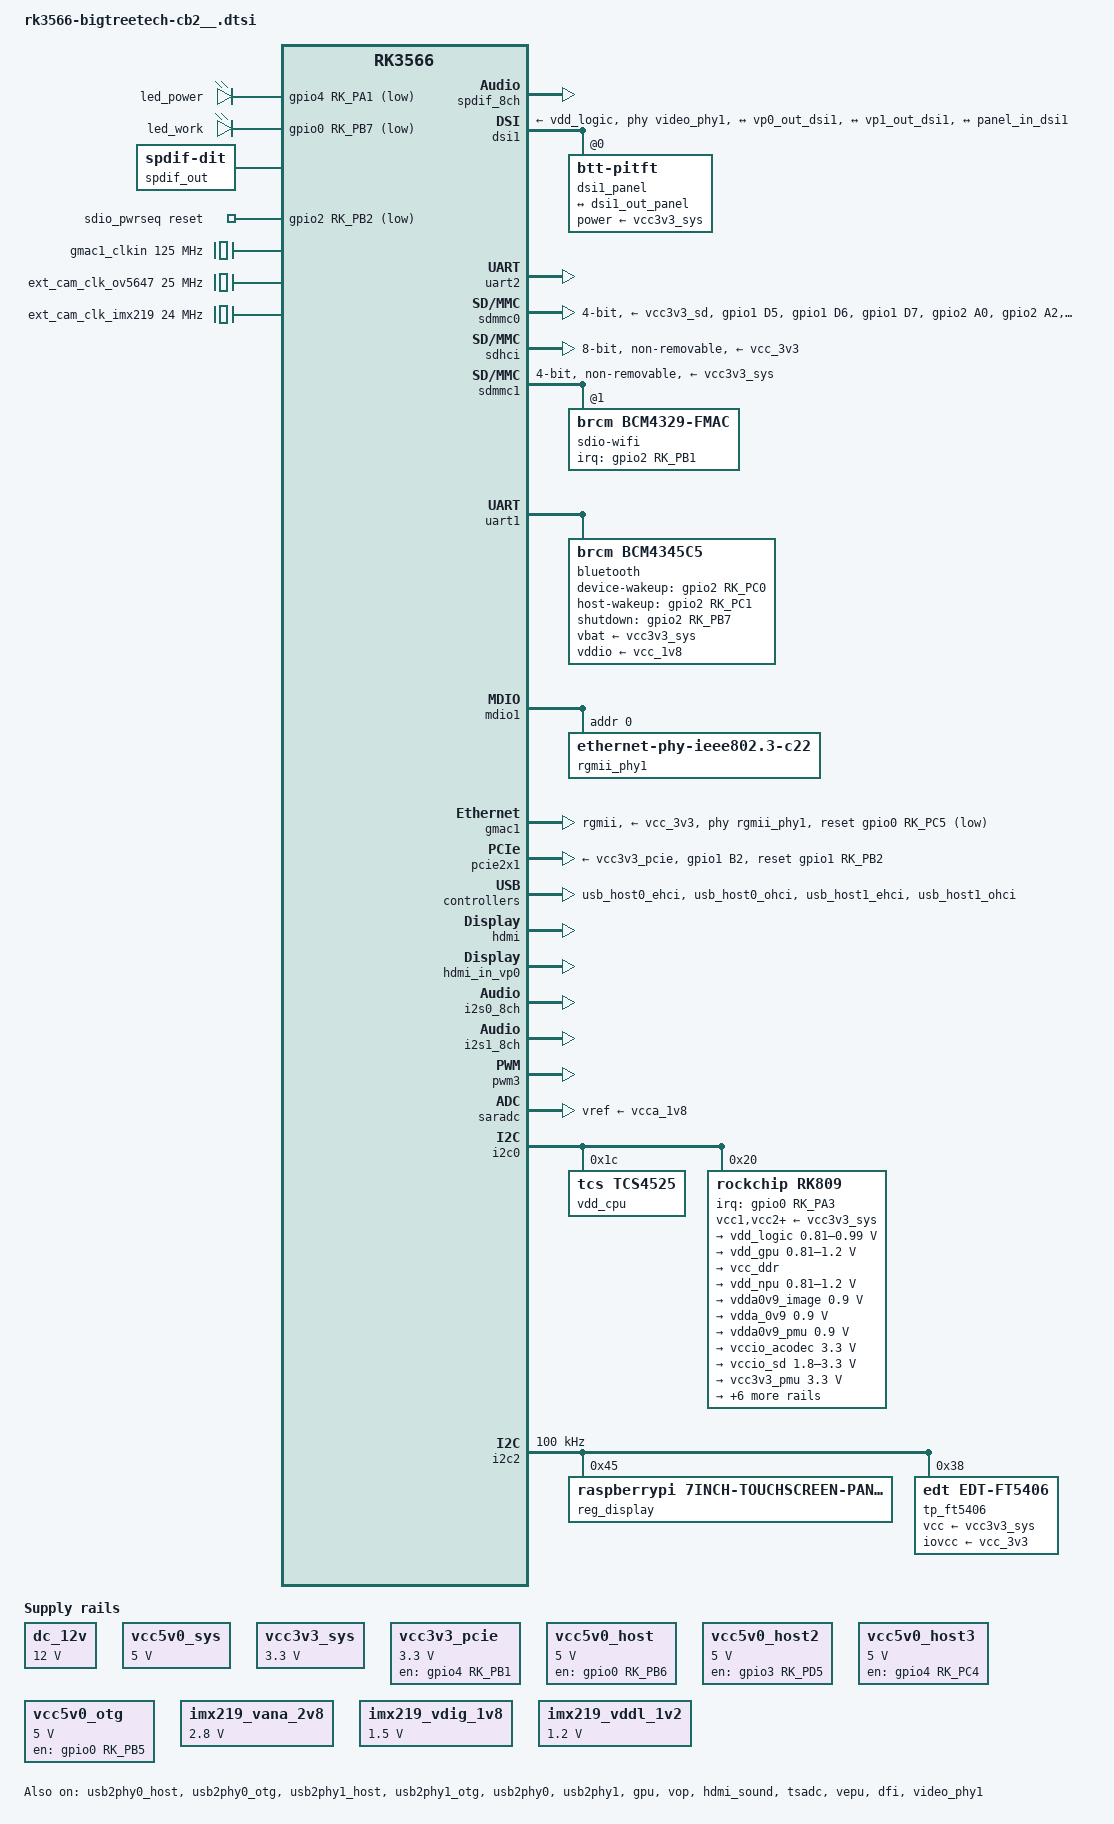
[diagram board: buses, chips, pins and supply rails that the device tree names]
// SPDX-License-Identifier: (GPL-2.0+ OR MIT)
/*
 * Copyright (c) 2025 BigTreeTech Co., Ltd.
 *
 */
/dts-v1/;

#include <dt-bindings/gpio/gpio.h>
#include <dt-bindings/pinctrl/rockchip.h>
#include <dt-bindings/soc/rockchip,vop2.h>
// #include <dt-bindings/display/rockchip_vop.h>
#include <dt-bindings/input/linux-event-codes.h>

#include "rk3566.dtsi"

/ {
	aliases {
		/delete-property/ ethernet1;
		/delete-property/ mmc0;
		/delete-property/ mmc1;
		mmc0 = &sdmmc0;
		mmc1 = &sdhci;
		serial2 = &uart2;
	};

	chosen {
		stdout-path = "serial2:1500000n8";
	};

	dc_12v: dc-12v {
		compatible = "regulator-fixed";
		regulator-name = "dc_12v";
		regulator-always-on;
		regulator-boot-on;
		regulator-min-microvolt = <12000000>;
		regulator-max-microvolt = <12000000>;
	};

	vcc5v0_sys: vcc5v0-sys {
		compatible = "regulator-fixed";
		regulator-name = "vcc5v0_sys";
		regulator-always-on;
		regulator-boot-on;
		regulator-min-microvolt = <5000000>;
		regulator-max-microvolt = <5000000>;
		// vin-supply = <&dc_12v>;
	};

	vcc3v3_sys: vcc3v3-sys {
		compatible = "regulator-fixed";
		regulator-name = "vcc3v3_sys";
		regulator-always-on;
		regulator-boot-on;
		regulator-min-microvolt = <3300000>;
		regulator-max-microvolt = <3300000>;
		// vin-supply = <&vcc5v0_sys>;
	};

	vcc3v3_pcie: vcc3v3-pcie {
		compatible = "regulator-fixed";
		regulator-always-on;
		regulator-boot-on;
		enable-active-high;
		gpio = <&gpio4 RK_PB1 GPIO_ACTIVE_HIGH>;
		pinctrl-names = "default";
		pinctrl-0 = <&pcie_enable_h>;
		regulator-name = "vcc3v3_pcie";
		regulator-min-microvolt = <3300000>;
		regulator-max-microvolt = <3300000>;
		// vin-supply = <&vcc5v0_sys>;
	};

	vcc5v0_host: vcc5v0-host-regulator {
		compatible = "regulator-fixed";
		enable-active-high;
		gpio = <&gpio0 RK_PB6 GPIO_ACTIVE_HIGH>;
		pinctrl-names = "default";
		pinctrl-0 = <&vcc5v0_host_vbus_en>;
		regulator-name = "vcc5v0_host";
		regulator-min-microvolt = <5000000>;
		regulator-max-microvolt = <5000000>;
		regulator-boot-on;
		regulator-always-on;
	};

	vcc5v0_host2: vcc5v0-host2-regulator {
		compatible = "regulator-fixed";
		enable-active-high;
		gpio = <&gpio3 RK_PD5 GPIO_ACTIVE_HIGH>;
		pinctrl-names = "default";
		pinctrl-0 = <&vcc5v0_host2_vbus_en>;
		regulator-name = "vcc5v0_host2";
		regulator-min-microvolt = <5000000>;
		regulator-max-microvolt = <5000000>;
		regulator-boot-on;
		regulator-always-on;
	};

	vcc5v0_host3: vcc5v0-host3-regulator {
		compatible = "regulator-fixed";
		enable-active-high;
		gpio = <&gpio4 RK_PC4 GPIO_ACTIVE_HIGH>;
		pinctrl-names = "default";
		pinctrl-0 = <&vcc5v0_host3_vbus_en>;
		regulator-name = "vcc5v0_host3";
		regulator-min-microvolt = <5000000>;
		regulator-max-microvolt = <5000000>;
		regulator-boot-on;
		regulator-always-on;
	};

	vcc5v0_otg: vcc5v0-otg-regulator {
		compatible = "regulator-fixed";
		enable-active-high;
		gpio = <&gpio0 RK_PB5 GPIO_ACTIVE_HIGH>;
		pinctrl-names = "default";
		pinctrl-0 = <&vcc5v0_otg_en>;
		regulator-name = "vcc5v0_otg";
		regulator-min-microvolt = <5000000>;
		regulator-max-microvolt = <5000000>;
		regulator-always-on;
	};

	leds {
		compatible = "gpio-leds";

		led_power: led-power {
			gpios = <&gpio4 RK_PA1 GPIO_ACTIVE_LOW>;
			label = "led_power";
			linux,default-trigger = "default-on";
			pinctrl-names = "default";
			pinctrl-0 = <&led_power_en>;
		};

		led_work: led-work {
			gpios = <&gpio0 RK_PB7 GPIO_ACTIVE_LOW>;
			label = "led_work";
			linux,default-trigger = "heartbeat";
			pinctrl-names = "default";
			pinctrl-0 = <&led_work_en>;
		};
	};

	// rk809_sound: rk809-sound {
	// 	status = "okay";
	// 	compatible = "rockchip,multicodecs-card";
	// 	rockchip,card-name = "Analog RK809";
	// 	hp-det-gpio = <&gpio0 RK_PC6 GPIO_ACTIVE_LOW>;
	// 	rockchip,format = "i2s";
	// 	rockchip,mclk-fs = <256>;
	// 	rockchip,cpu = <&i2s1_8ch>;
	// 	rockchip,codec = <&rk809_codec>;
	// 	pinctrl-names = "default";
	// 	pinctrl-0 = <&hp_det>;
	// };

	bt_sco: bt-sco {
		status = "disabled";
		compatible = "delta,dfbmcs320";
		#sound-dai-cells = <0>;
	};

	bt_sound: bt-sound {
		status = "disabled";
		compatible = "simple-audio-card";
		simple-audio-card,format = "dsp_a";
		simple-audio-card,bitclock-inversion;
		simple-audio-card,mclk-fs = <256>;
		simple-audio-card,name = "Bluetooth";
		simple-audio-card,cpu {
			sound-dai = <&i2s2_2ch>;
		};
		simple-audio-card,codec {
			sound-dai = <&bt_sco>;
		};
	};

	spdif_out: spdif-out {
		status = "okay";
		#sound-dai-cells = <0>;
		compatible = "linux,spdif-dit";
	};

  // CUSTOM
	spdif_8ch: spdif@fe460000 {
		compatible = "rockchip,rk3568-spdif";
		reg = <0x0 0xfe460000 0x0 0x1000>;
		interrupts = <GIC_SPI 102 IRQ_TYPE_LEVEL_HIGH>;
		clock-names = "mclk", "hclk";
		clocks = <&cru MCLK_SPDIF_8CH>, <&cru HCLK_SPDIF_8CH>;
		dmas = <&dmac1 1>;
		dma-names = "tx";
		pinctrl-names = "default";
		pinctrl-0 = <&spdifm0_tx>;
		#sound-dai-cells = <0>;
		status = "disabled";
	};

	spdif_sound: spdif-sound {
		status = "okay";
		compatible = "simple-audio-card";
		simple-audio-card,name = "SPDIF";

		simple-audio-card,cpu {
			sound-dai = <&spdif_8ch>;
		};

		simple-audio-card,codec {
			sound-dai = <&spdif_out>;
		};
	};

	sdio_pwrseq: sdio-pwrseq {
		compatible = "mmc-pwrseq-simple";
		clocks = <&rk809 1>;
		clock-names = "ext_clock";
		pinctrl-names = "default";
		pinctrl-0 = <&wifi_enable_h &wifi_32k>;

		/*
		 * On the module itself this is one of these (depending
		 * on the actual card populated):
		 * - SDIO_RESET_L_WL_REG_ON
		 * - PDN (power down when low)
		 */
		post-power-on-delay-ms = <200>;
		reset-gpios = <&gpio2 RK_PB2 GPIO_ACTIVE_LOW>;
	};

	gmac1_clkin: external-gmac1-clock {
		compatible = "fixed-clock";
		clock-frequency = <125000000>;
		clock-output-names = "gmac1_clkin";
		#clock-cells = <0>;
	};

	ext_cam_clk_ov5647: external-camera-clock-ov5647 {
		compatible = "fixed-clock";
		clock-frequency = <25000000>;
		clock-output-names = "ext_cam_clk_ov5647";
		#clock-cells = <0>;
	};

	ext_cam_clk_imx219: ext-cam-clk-imx219 {
		compatible = "fixed-clock";
		clock-frequency = <24000000>;
		clock-output-names = "ext_cam_clk_imx219";
		#clock-cells = <0>;
	};

	imx219_vana_2v8: 2p8v {
		compatible = "regulator-fixed";
		regulator-name = "camera_vana";
		regulator-min-microvolt = <2800000>;
		regulator-max-microvolt = <2800000>;
		regulator-always-on;
	};

	imx219_vdig_1v8: 1p8v {
		compatible = "regulator-fixed";
		regulator-name = "camera_vdig";
		regulator-min-microvolt = <1500000>;
		regulator-max-microvolt = <1500000>;
		regulator-always-on;
	};

	imx219_vddl_1v2: 1p2v {
		compatible = "regulator-fixed";
		regulator-name = "camera_vddl";
		regulator-min-microvolt = <1200000>;
		regulator-max-microvolt = <1200000>;
		regulator-always-on;
	};

	mcp2515_clock: mcp2515_clock {
		compatible = "fixed-clock";
		#clock-cells = <0>;
		clock-frequency  = <12000000>;
	};


	// CUSTOM
	video_phy1: phy@fe860000 {
		compatible = "rockchip,rk3568-dsi-dphy", "rockchip,rk3568-video-phy";
		reg = <0x0 0xfe860000  0x0 0x10000>,
		      <0x0 0xfe070000 0x0 0x10000>;
		reg-names = "phy", "host";
		clocks = <&pmucru CLK_MIPIDSIPHY1_REF>,
			 <&cru PCLK_MIPIDSIPHY1>, <&cru PCLK_DSITX_1>;
		clock-names = "ref", "pclk", "pclk_host";
		#clock-cells = <0>;
		resets = <&cru SRST_P_MIPIDSIPHY1>;
		reset-names = "apb";
		power-domains = <&power RK3568_PD_VO>;
		#phy-cells = <0>;
		status = "disabled";
	};

	// CUSTOM
	dsi1: dsi@fe070000 {
		compatible = "rockchip,rk3568-mipi-dsi";
		reg = <0x0 0xfe070000 0x0 0x10000>;
		interrupts = <GIC_SPI 69 IRQ_TYPE_LEVEL_HIGH>;
		clock-names = "pclk", "hclk";
		clocks = <&cru PCLK_DSITX_1>, <&cru HCLK_VO>;
		phy-names = "dphy";
		phys = <&video_phy1>;
		power-domains = <&power RK3568_PD_VO>;
		reset-names = "apb";
		resets = <&cru SRST_P_DSITX_1>;
		rockchip,grf = <&grf>;
		#address-cells = <1>;
		#size-cells = <0>;
		status = "disabled";

		ports {
			#address-cells = <1>;
			#size-cells = <0>;

			dsi1_in: port@0 {
				reg = <0>;
				#address-cells = <1>;
				#size-cells = <0>;

				dsi1_in_vp0: endpoint@0 {
					reg = <0>;
					remote-endpoint = <&vp0_out_dsi1>;
					status = "disabled";
				};

				dsi1_in_vp1: endpoint@1 {
					reg = <1>;
					remote-endpoint = <&vp1_out_dsi1>;
					status = "disabled";
				};
			};
		};
	};
};

// Debug serial
&uart2 {
	status = "okay";
};

&pinctrl {
	leds {
		led_power_en: led-power-en {
			rockchip,pins = <4 RK_PA1 RK_FUNC_GPIO &pcfg_pull_none>;
		};

		led_work_en: led-work-en {
			rockchip,pins = <0 RK_PB7 RK_FUNC_GPIO &pcfg_pull_none>;
		};
	};

	headphone {
		hp_det: hp-det {
			rockchip,pins = <0 RK_PC6 RK_FUNC_GPIO &pcfg_pull_down>;
		};
	};

	bt {
		bt_enable_h: bt-enable-h {
			rockchip,pins = <2 RK_PB7 RK_FUNC_GPIO &pcfg_pull_none>;
		};

		bt_host_wake_l: bt-host-wake-l {
			rockchip,pins = <2 RK_PC0 RK_FUNC_GPIO &pcfg_pull_down>;
		};

		bt_wake_l: bt-wake-l {
			rockchip,pins = <2 RK_PC1 RK_FUNC_GPIO &pcfg_pull_none>;
		};
	};

	pcie {
		pcie_enable_h: pcie-enable-h {
			rockchip,pins = <4 RK_PB1  RK_FUNC_GPIO &pcfg_pull_none>;
		};

		pcie_reset_h: pcie-reset-h {
			rockchip,pins = <1 RK_PB2 RK_FUNC_GPIO &pcfg_pull_none>;
		};
	};

	pmic {
		pmic_int: pmic-int {
			rockchip,pins =
				<0 RK_PA3 RK_FUNC_GPIO &pcfg_pull_up>;
		};

		soc_slppin_gpio: soc_slppin_gpio {
			rockchip,pins =
				<0 RK_PA2 RK_FUNC_GPIO &pcfg_output_low>;
		};

		soc_slppin_slp: soc_slppin_slp {
			rockchip,pins =
				<0 RK_PA2 1 &pcfg_pull_none>;
		};

		soc_slppin_rst: soc_slppin_rst {
			rockchip,pins =
				<0 RK_PA2 2 &pcfg_pull_none>;
		};
	};

	sdmmc0 {
		sdmmc0_bus4: sdmmc0-bus4 {
			rockchip,pins =
				/* sdmmc0_d0 */
				<1 RK_PD5 1 &pcfg_pull_up_drv_level_15>,
				/* sdmmc0_d1 */
				<1 RK_PD6 1 &pcfg_pull_up_drv_level_15>,
				/* sdmmc0_d2 */
				<1 RK_PD7 1 &pcfg_pull_up_drv_level_15>,
				/* sdmmc0_d3 */
				<2 RK_PA0 1 &pcfg_pull_up_drv_level_15>;
		};

		sdmmc0_clk: sdmmc0-clk {
			rockchip,pins = <2 RK_PA2 1 &pcfg_pull_up_drv_level_15>;
		};

		sdmmc0_cmd: sdmmc0-cmd {
			rockchip,pins = <2 RK_PA1 1 &pcfg_pull_up_drv_level_15>;
		};

		sdmmc0_det: sdmmc0-det {
			rockchip,pins = <0 RK_PA4 1 &pcfg_pull_up>;
		};
	};

	sdio-pwrseq {
		wifi_enable_h: wifi-enable-h {
			rockchip,pins = <2 RK_PB2 RK_FUNC_GPIO &pcfg_pull_none>;
		};

		wifi_host_wake: wifi-host-wake {
			rockchip,pins = <2 RK_PB1 RK_FUNC_GPIO &pcfg_pull_down>;
		};

		wifi_32k: wifi-32k {
			rockchip,pins = <2 RK_PC6 1 &pcfg_pull_none>;
		};
	};

	usb {
		vcc5v0_otg_en: vcc5v0-otg-en {
			rockchip,pins = <0 RK_PB5 RK_FUNC_GPIO &pcfg_pull_none>;
		};

		vcc5v0_host_vbus_en: vcc5v0-host-en {
			rockchip,pins = <0 RK_PB6 RK_FUNC_GPIO &pcfg_pull_none>;
		};

		vcc5v0_host2_vbus_en: vcc5v0-host2-en {
			rockchip,pins = <3 RK_PD5 RK_FUNC_GPIO &pcfg_pull_none>;
		};

		vcc5v0_host3_vbus_en: vcc5v0-host3-en {
			rockchip,pins = <4 RK_PC4 RK_FUNC_GPIO &pcfg_pull_none>;
		};
	};

	can {
		can0_pin_irq: can0-pin-irq {
			rockchip,pins = <4 RK_PA3 RK_FUNC_GPIO &pcfg_pull_up>;
		};
	};
};

&power {
	// pipe-supply = <&vdd_logic>;
	// npu-supply = <&vdd_npu>;
	// vpu-supply = <&vdd_logic>;
	// rga-supply = <&vdd_logic>;
	// rkvenc-supply = <&vdd_logic>;
	// rkvdec-supply = <&vdd_logic>;
	// vi-supply = <&vdd_logic>;
	// gpu-supply = <&vdd_gpu>;
};

&pmu_io_domains {
	status = "okay";
	pmuio1-supply = <&vcc3v3_pmu>;
	pmuio2-supply = <&vcc3v3_pmu>;
	vccio1-supply = <&vccio_acodec>;
	vccio2-supply = <&vcc_1v8>;
	vccio3-supply = <&vccio_sd>;
	vccio4-supply = <&vcc_1v8>;
	vccio5-supply = <&vcc_3v3>;
	vccio6-supply = <&vcc_3v3>;
	vccio7-supply = <&vcc_3v3>;
};

// SD Card
&sdmmc0 {
	status = "okay";

	vmmc-supply = <&vcc3v3_sd>;
	vqmmc-supply = <&vccio_sd>;

	max-frequency = <150000000>;
	no-sdio;
	no-mmc;
	bus-width = <4>;
	cap-mmc-highspeed;
	cap-sd-highspeed;
	disable-wp;
	sd-uhs-sdr104;
	pinctrl-names = "default";
	pinctrl-0 = <&sdmmc0_bus4 &sdmmc0_clk &sdmmc0_cmd &sdmmc0_det>;
};

// eMMC
&sdhci {
	status = "okay";

	vmmc-supply = <&vcc_3v3>;
	vqmmc-supply = <&vcc_1v8>;

	bus-width = <8>;
	no-sdio;
	no-sd;
	non-removable;
	max-frequency = <200000000>;
	pinctrl-names = "default";
	pinctrl-0 = <&emmc_clk &emmc_cmd &emmc_bus8>;
};

// WiFi
&sdmmc1 {
	status = "okay";

	#address-cells = <1>;
	#size-cells = <0>;

	vmmc-supply = <&vcc3v3_sys>;
	vqmmc-supply = <&vcc_1v8>;

	max-frequency = <150000000>;
	bus-width = <4>;
	disable-wp;
	cap-sd-highspeed;
	cap-sdio-irq;
	keep-power-in-suspend;
	mmc-pwrseq = <&sdio_pwrseq>;
	non-removable;
	pinctrl-names = "default";
	pinctrl-0 = <&sdmmc1_bus4 &sdmmc1_cmd &sdmmc1_clk>;
	sd-uhs-sdr104;
	no-sd;
	no-mmc;
	rockchip,default-sample-phase = <90>;

	sdio-wifi@1 {
		compatible = "brcm,bcm4329-fmac";
		brcm,board-type = "";
		reg = <0x1>;
		interrupt-parent = <&gpio2>;
		interrupts = <RK_PB1 IRQ_TYPE_LEVEL_HIGH>;
		interrupt-names = "host-wake";
		pinctrl-names = "default";
		pinctrl-0 = <&wifi_host_wake>;

		brcm,drive-strength = <10>;
	};
};

// Bluetooth
&uart1 {
	status = "okay";
	pinctrl-names = "default";
	pinctrl-0 = <&uart1m0_xfer &uart1m0_ctsn &uart1m0_rtsn>;
	uart-has-rtscts;
	dma-names = "tx", "rx";

	bluetooth {
		compatible = "brcm,bcm4345c5";
		clocks = <&rk809 1>;
		clock-names = "lpo";
		device-wakeup-gpios = <&gpio2 RK_PC0 GPIO_ACTIVE_HIGH>;
		host-wakeup-gpios = <&gpio2 RK_PC1 GPIO_ACTIVE_HIGH>;
		shutdown-gpios = <&gpio2 RK_PB7 GPIO_ACTIVE_HIGH>;
		pinctrl-names = "default";
		pinctrl-0 = <&bt_host_wake_l &bt_wake_l &bt_enable_h>;
		vbat-supply = <&vcc3v3_sys>;
		vddio-supply = <&vcc_1v8>;
		max-speed = <1500000>; // important!
	};
};

// Ethernet
&mdio1 {
	rgmii_phy1: phy@0 {
		compatible = "ethernet-phy-ieee802.3-c22";
		reg = <0x0>;
	};
};

&gmac1 {
	assigned-clocks = <&cru SCLK_GMAC1_RX_TX>, <&cru SCLK_GMAC1_RGMII_SPEED>, <&cru SCLK_GMAC1>;
	assigned-clock-parents = <&cru SCLK_GMAC1_RGMII_SPEED>, <&cru SCLK_GMAC1>, <&gmac1_clkin>;
	clock_in_out = "input";
	phy-supply = <&vcc_3v3>;
	phy-mode = "rgmii";
	interrupts = <GIC_SPI 32 IRQ_TYPE_LEVEL_HIGH>,
				<GIC_SPI 29 IRQ_TYPE_LEVEL_HIGH>,
				<GIC_SPI 28 IRQ_TYPE_LEVEL_HIGH>;
	interrupt-names = "macirq", "eth_wake_irq", "eth_lpi";
	pinctrl-names = "default";
	pinctrl-0 = <&gmac1m0_miim
		     &gmac1m0_tx_bus2
		     &gmac1m0_rx_bus2
		     &gmac1m0_rgmii_clk
		     &gmac1m0_clkinout
		     &gmac1m0_rgmii_bus>;
	snps,reset-gpio = <&gpio0 RK_PC5 GPIO_ACTIVE_LOW>;
	snps,reset-active-low;
	snps,reset-delays-us = <0 50000 200000>;
	tx_delay = <0x30>;
	rx_delay = <0x10>;
	phy-handle = <&rgmii_phy1>;
	status = "okay";
};

&pcie2x1 {
	reset-gpios = <&gpio1 RK_PB2 GPIO_ACTIVE_HIGH>;
	pinctrl-names = "default";
	pinctrl-0 = <&pcie_reset_h>;
	vpcie3v3-supply = <&vcc3v3_pcie>;
	status = "okay";
};

&sfc {
	status = "disabled";
	pinctrl-names = "default";
	pinctrl-0 = <&fspi_pins>;

	flash@0 {
		compatible = "jedec,spi-nor";
		reg = <0>;
		spi-max-frequency = <100000000>;
		spi-rx-bus-width = <4>;
		spi-tx-bus-width = <1>;
	};
};

&usb2phy0_host {
	phy-supply = <&vcc5v0_host>;
	status = "okay";
};

&usb2phy0_otg {
	phy-supply = <&vcc5v0_otg>;
	status = "okay";
};

&usb2phy1_host {
	status = "okay";
	phy-supply = <&vcc5v0_host2>;
};

&usb2phy1_otg {
	status = "okay";
	phy-supply = <&vcc5v0_host3>;
	vbus-supply = <&vcc5v0_host3>;
};

&usb2phy0 {
	status = "okay";
};

&usb2phy1 {
	status = "okay";
};

&usb_host0_ehci {
	status = "okay";
};

&usb_host0_ohci {
	status = "okay";
};

&usb_host1_ehci {
	status = "okay";
};

&usb_host1_ohci {
	status = "okay";
};

// &usbdrd_dwc3 {
// 	dr_mode = "host";
// 	extcon = <&usb2phy0>;
// 	status = "okay";
// };

// &usbdrd30 {
// 	status = "okay";
// };

// &usbhost_dwc3 {
// 	status = "okay";
// };

// &usbhost30 {
// 	status = "okay";
// };

// Display
&gpu {
	mali-supply = <&vdd_gpu>;
	status = "okay";
};

&vop_mmu {
	status = "okay";
};

&vop {
	status = "okay";
	vop-supply = <&vdd_logic>;
	assigned-clocks = <&cru DCLK_VOP0>, <&cru DCLK_VOP1>;
	assigned-clock-parents = <&pmucru PLL_HPLL>, <&cru PLL_VPLL>;

	vop_out: ports {
		#address-cells = <1>;
		#size-cells = <0>;

		vp0: port@0 {
			vp0_out_dsi1: endpoint@1 {
				reg = <1>;
				remote-endpoint = <&dsi1_in_vp0>;
			};

			vp0_out_hdmi: endpoint@3 {
				reg = <3>;
				remote-endpoint = <&hdmi_in_vp0>;
			};
		};

		vp1: port@1 {
			vp1_out_dsi1: endpoint@1 {
				reg = <1>;
				remote-endpoint = <&dsi1_in_vp1>;
			};
		};
	};
};

&hdmi {
	status = "okay";

	interrupts = <GIC_SPI 45 IRQ_TYPE_LEVEL_HIGH>,
				<GIC_SPI 44 IRQ_TYPE_LEVEL_HIGH>;
	interrupt-names = "hdmi", "hdmi_wakeup";
	avdd-0v9-supply = <&vdda0v9_image>;
	avdd-1v8-supply = <&vcca1v8_image>;
};

// CUSTOM!!
&hdmi_in {
	hdmi_in_vp0: endpoint {
		remote-endpoint = <&vp0_out_hdmi>;
	};
};

&hdmi_in_vp0 {
	status = "okay";
};

&video_phy1 {
	status = "okay";

	phy-supply = <&vdd_logic>;
};

&dsi1_in_vp1 {
	status = "okay";
};

&dsi1 {
	status = "okay";
	#address-cells = <1>;
	#size-cells = <0>;

	phy-supply = <&vdd_logic>;

	dsi1_panel: panel@0 {
		status = "okay";
		#address-cells = <1>;
		#size-cells = <0>;

		power-supply = <&vcc3v3_sys>;
		// backlight = <&reg_display>;

		compatible = "btt-pitft";
		reg = <0x0>;

		ports {
			#address-cells = <1>;
			#size-cells = <0>;

			port@0 {
				reg = <0>;
				panel_in_dsi1: endpoint {
					remote-endpoint = <&dsi1_out_panel>;
				};
			};
		};
	};

	ports {
		#address-cells = <1>;
		#size-cells = <0>;

		port@1 {
			reg = <1>;
			dsi1_out_panel: endpoint {
				remote-endpoint = <&panel_in_dsi1>;
			};
		};
	};
};

// Audio
&hdmi_sound {
	status = "okay";
};

&spdif_8ch {
	status = "okay";
};

&i2s0_8ch {
	status = "okay";
};

&i2s1_8ch {
	status = "okay";
	rockchip,clk-trcm = <1>;
	pinctrl-names = "default";
	pinctrl-0 = <&i2s1m0_sclktx
		     &i2s1m0_lrcktx
		     &i2s1m0_sdi0
		     &i2s1m0_sdo0>;
};

&i2s2_2ch {
	status = "disabled";
	pinctrl-0 = <&i2s2m0_sclktx &i2s2m0_lrcktx &i2s2m0_sdi &i2s2m0_sdo>;
	rockchip,bclk-fs = <32>;
};

// Camera
// &rkisp_vir0 {
// 	status = "okay";

// 	port {
// 		#address-cells = <1>;
// 		#size-cells = <0>;

// 		isp0_in: endpoint@0 {
// 			reg = <0>;
// 			remote-endpoint = <&dphy0_out>;
// 		};
// 	};
// };

// &rkisp {
// 	status = "okay";
// };

// &rkisp_mmu {
// 	status = "okay";
// };

// &rkcif_mmu {
// 	status = "okay";
// };

// &rkcif {
// 	status = "okay";
// };

// &csi2_dphy_hw {
// 	status = "okay";
// };

// &csi2_dphy0 {
// 	status = "okay";

// 	ports {
// 		#address-cells = <1>;
// 		#size-cells = <0>;

// 		port@0 {
// 			reg = <0>;
// 			#address-cells = <1>;
// 			#size-cells = <0>;

// 			mipi_in_ucam0: endpoint@1 {
// 				reg = <1>;
// 				remote-endpoint = <&ov5647_out>;
// 				data-lanes = <1 2>;
// 			};

// 			mipi_in_ucam1: endpoint@2 {
// 				reg = <2>;
// 				remote-endpoint = <&imx219_out>;
// 				data-lanes = <1 2>;
// 			};
// 		};

// 		port@1 {
// 			reg = <1>;
// 			#address-cells = <1>;
// 			#size-cells = <0>;

// 			dphy0_out: endpoint@1 {
// 				reg = <1>;
// 				remote-endpoint = <&isp0_in>;
// 			};
// 		};
// 	};
// };

// IR
&pwm3 {
	status = "okay";

	compatible = "rockchip,remotectl-pwm";
	remote_pwm_id = <3>;
	handle_cpu_id = <1>;
	remote_support_psci = <0>;
	pinctrl-names = "default";

	ir_key {
		rockchip,usercode = <0xff00>;
		rockchip,key_table =
			<0xba   KEY_CHANNELDOWN>,
			<0xb9   KEY_CHANNEL>,
			<0xb8   KEY_CHANNELUP>,
			<0xbb   KEY_VIDEO_PREV>,
			<0xbf   KEY_VIDEO_NEXT>,
			<0xbc   KEY_PLAYPAUSE>,
			<0xf8   KEY_VOLUMEDOWN>,
			<0xea   KEY_VOLUMEUP>,
			<0xf6   KEY_EQUAL>,
			<0xe9   KEY_0>,
			<0xf3   KEY_1>,
			<0xe7   KEY_2>,
			<0xa1   KEY_3>,
			<0xf7   KEY_4>,
			<0xe3   KEY_5>,
			<0xa5   KEY_6>,
			<0xbd   KEY_7>,
			<0xad   KEY_8>,
			<0xb5   KEY_9>;
	};
};

&cpu0 {
	cpu-supply = <&vdd_cpu>;
};

&cpu1 {
	cpu-supply = <&vdd_cpu>;
};

&cpu2 {
	cpu-supply = <&vdd_cpu>;
};

&cpu3 {
	cpu-supply = <&vdd_cpu>;
};

&saradc {
	status = "okay";
	vref-supply = <&vcca_1v8>;
};

&tsadc {
	status = "okay";
};

// &bus_npu {
// 	bus-supply = <&vdd_logic>;
// 	pvtm-supply = <&vdd_cpu>;
// 	status = "okay";
// };

// &rknpu {
// 	rknpu-supply = <&vdd_npu>;
// 	mem-supply = <&vdd_logic>;
// 	interrupt-names = "npu_irq";
// 	status = "okay";
// };

// &rknpu_mmu {
// 	status = "okay";
// };

// &iep {
// 	status = "okay";
// };

// &iep_mmu {
// 	status = "okay";
// };

// &jpegd {
// 	status = "okay";
// };

// &jpegd_mmu {
// 	status = "okay";
// };

// &mpp_srv {
// 	status = "okay";
// };

// &rk_rga {
// 	status = "okay";
// };

// &rkvdec {
// 	status = "okay";
// };

// &rkvdec_mmu {
// 	status = "okay";
// };

// &rkvenc {
// 	venc-supply = <&vdd_logic>;
// 	status = "okay";
// };

// &rkvenc_mmu {
// 	status = "okay";
// };

// &vdpu {
// 	status = "okay";
// };

&vdpu_mmu {
	status = "okay";
};

&vepu {
	status = "okay";
};

&vepu_mmu {
	status = "okay";
};

// &combphy1_usq {
// 	status = "okay";

// 	phy-supply = <&vcc3v3_sys>;
// };

// &combphy2_psq {
// 	status = "okay";

// 	phy-supply = <&vcc3v3_sys>;
// };

&dfi {
	status = "okay";
};

// &dmc {
// 	center-supply = <&vdd_logic>;
// 	status = "okay";
// };

&i2c0 {
	status = "okay";

	vdd_cpu: regulator@1c {
		compatible = "tcs,tcs4525";
		reg = <0x1c>;
		fcs,suspend-voltage-selector = <1>;
		regulator-name = "vdd_cpu";
		regulator-always-on;
		regulator-boot-on;
		regulator-min-microvolt = <810000>;
		regulator-max-microvolt = <1200000>;
		regulator-init-microvolt = <900000>;
		regulator-ramp-delay = <2300>;
		// vin-supply = <&vcc5v0_sys>;

		regulator-state-mem {
			regulator-off-in-suspend;
		};
	};

	rk809: pmic@20 {
		compatible = "rockchip,rk809";
		reg = <0x20>;
		interrupt-parent = <&gpio0>;
		interrupts = <RK_PA3 IRQ_TYPE_LEVEL_LOW>;

		pinctrl-names = "default", "pmic-sleep",
				"pmic-power-off", "pmic-reset";
		pinctrl-0 = <&pmic_int>;
		pinctrl-1 = <&soc_slppin_slp>, <&rk817_slppin_slp>;
		pinctrl-2 = <&soc_slppin_gpio>, <&rk817_slppin_pwrdn>;
		pinctrl-3 = <&soc_slppin_gpio>, <&rk817_slppin_rst>;

		rockchip,system-power-controller;
		wakeup-source;
		#clock-cells = <1>;
		clock-output-names = "rk808-clkout1", "rk808-clkout2";
		//fb-inner-reg-idxs = <2>;
		/* 1: rst regs (default in codes), 0: rst the pmic */
		pmic-reset-func = <0>;
		/* not save the PMIC_POWER_EN register in uboot */
		not-save-power-en = <1>;

		vcc1-supply = <&vcc3v3_sys>;
		vcc2-supply = <&vcc3v3_sys>;
		vcc3-supply = <&vcc3v3_sys>;
		vcc4-supply = <&vcc3v3_sys>;
		vcc5-supply = <&vcc3v3_sys>;
		vcc6-supply = <&vcc3v3_sys>;
		vcc7-supply = <&vcc3v3_sys>;
		vcc8-supply = <&vcc3v3_sys>;
		vcc9-supply = <&vcc3v3_sys>;

		pwrkey {
			status = "okay";
		};

		pinctrl_rk8xx: pinctrl_rk8xx {
			gpio-controller;
			#gpio-cells = <2>;

			rk817_slppin_null: rk817_slppin_null {
				pins = "gpio_slp";
				function = "pin_fun0";
			};

			rk817_slppin_slp: rk817_slppin_slp {
				pins = "gpio_slp";
				function = "pin_fun1";
			};

			rk817_slppin_pwrdn: rk817_slppin_pwrdn {
				pins = "gpio_slp";
				function = "pin_fun2";
			};

			rk817_slppin_rst: rk817_slppin_rst {
				pins = "gpio_slp";
				function = "pin_fun3";
			};
		};

		rtc_rk808: rk808_rtc {
			compatible = "rk808-rtc";
			status = "disabled";
		};

		// rk809_codec: codec {
		// 	#sound-dai-cells = <0>;
		// 	compatible = "rockchip,rk809-codec", "rockchip,rk817-codec";
		// 	clocks = <&cru I2S1_MCLKOUT>;
		// 	clock-names = "mclk";
		// 	assigned-clocks = <&cru I2S1_MCLKOUT>, <&cru I2S1_MCLK_TX_IOE>;
		// 	assigned-clock-rates = <12288000>;
		// 	assigned-clock-parents = <&cru I2S1_MCLKOUT_TX>, <&cru I2S1_MCLKOUT_TX>;
		// 	pinctrl-names = "default";
		// 	pinctrl-0 = <&i2s1m0_mclk>;
		// 	pdmdata-out-enable;
		// 	adc-for-loopback;
		// 	hp-volume = <20>;
		// 	spk-volume = <3>;
		// 	mic-in-differential;
		// 	status = "okay";
		// };

		regulators {
			vdd_logic: DCDC_REG1 {
				regulator-always-on;
				regulator-boot-on;
				regulator-min-microvolt = <810000>;
				regulator-max-microvolt = <990000>;
				regulator-init-microvolt = <900000>;
				regulator-ramp-delay = <6001>;
				regulator-initial-mode = <0x2>;
				regulator-name = "vdd_logic";
				regulator-state-mem {
					regulator-off-in-suspend;
				};
			};

			vdd_gpu: DCDC_REG2 {
				regulator-always-on;
				regulator-boot-on;
				regulator-min-microvolt = <810000>;
				regulator-max-microvolt = <1200000>;
				regulator-init-microvolt = <900000>;
				regulator-ramp-delay = <6001>;
				regulator-initial-mode = <0x2>;
				regulator-name = "vdd_gpu";
				regulator-state-mem {
					regulator-off-in-suspend;
				};
			};

			vcc_ddr: DCDC_REG3 {
				regulator-always-on;
				regulator-boot-on;
				regulator-initial-mode = <0x2>;
				regulator-name = "vcc_ddr";
				regulator-state-mem {
					regulator-on-in-suspend;
				};
			};

			vdd_npu: DCDC_REG4 {
				regulator-always-on;
				regulator-boot-on;
				regulator-min-microvolt = <810000>;
				regulator-max-microvolt = <1200000>;
				regulator-init-microvolt = <900000>;
				regulator-ramp-delay = <6001>;
				regulator-initial-mode = <0x2>;
				regulator-name = "vdd_npu";
				regulator-state-mem {
					regulator-off-in-suspend;
				};
			};

			vdda0v9_image: LDO_REG1 {
				regulator-boot-on;
				regulator-always-on;
				regulator-min-microvolt = <900000>;
				regulator-max-microvolt = <900000>;
				regulator-name = "vdda0v9_image";
				regulator-state-mem {
					regulator-off-in-suspend;
				};
			};

			vdda_0v9: LDO_REG2 {
				regulator-always-on;
				regulator-boot-on;
				regulator-min-microvolt = <900000>;
				regulator-max-microvolt = <900000>;
				regulator-name = "vdda_0v9";
				regulator-state-mem {
					regulator-off-in-suspend;
				};
			};

			vdda0v9_pmu: LDO_REG3 {
				regulator-always-on;
				regulator-boot-on;
				regulator-min-microvolt = <900000>;
				regulator-max-microvolt = <900000>;
				regulator-name = "vdda0v9_pmu";
				regulator-state-mem {
					regulator-on-in-suspend;
					regulator-suspend-microvolt = <900000>;
				};
			};

			vccio_acodec: LDO_REG4 {
				regulator-always-on;
				regulator-boot-on;
				regulator-min-microvolt = <3300000>;
				regulator-max-microvolt = <3300000>;
				regulator-name = "vccio_acodec";
				regulator-state-mem {
					regulator-off-in-suspend;
				};
			};

			vccio_sd: LDO_REG5 {
				regulator-always-on;
				regulator-boot-on;
				regulator-min-microvolt = <1800000>;
				regulator-max-microvolt = <3300000>;
				regulator-name = "vccio_sd";
				regulator-state-mem {
					regulator-off-in-suspend;
				};
			};

			vcc3v3_pmu: LDO_REG6 {
				regulator-always-on;
				regulator-boot-on;
				regulator-min-microvolt = <3300000>;
				regulator-max-microvolt = <3300000>;
				regulator-name = "vcc3v3_pmu";
				regulator-state-mem {
					regulator-on-in-suspend;
					regulator-suspend-microvolt = <3300000>;
				};
			};

			vcca_1v8: LDO_REG7 {
				regulator-always-on;
				regulator-boot-on;
				regulator-min-microvolt = <1800000>;
				regulator-max-microvolt = <1800000>;
				regulator-name = "vcca_1v8";
				regulator-state-mem {
					regulator-off-in-suspend;
				};
			};

			vcca1v8_pmu: LDO_REG8 {
				regulator-always-on;
				regulator-boot-on;
				regulator-min-microvolt = <1800000>;
				regulator-max-microvolt = <1800000>;
				regulator-name = "vcca1v8_pmu";
				regulator-state-mem {
					regulator-on-in-suspend;
					regulator-suspend-microvolt = <1800000>;
				};
			};

			vcca1v8_image: LDO_REG9 {
				regulator-always-on;
				regulator-boot-on;
				regulator-min-microvolt = <1800000>;
				regulator-max-microvolt = <1800000>;
				regulator-name = "vcca1v8_image";
				regulator-state-mem {
					regulator-off-in-suspend;
				};
			};

			vcc_1v8: DCDC_REG5 {
				regulator-always-on;
				regulator-boot-on;
				regulator-min-microvolt = <1800000>;
				regulator-max-microvolt = <1800000>;
				regulator-name = "vcc_1v8";
				regulator-state-mem {
					regulator-off-in-suspend;
				};
			};

			vcc_3v3: SWITCH_REG1 {
				regulator-always-on;
				regulator-boot-on;
				regulator-name = "vcc_3v3";
				regulator-state-mem {
					regulator-off-in-suspend;
				};
			};

			vcc3v3_sd: SWITCH_REG2 {
				regulator-always-on;
				regulator-boot-on;
				regulator-name = "vcc3v3_sd";
				regulator-state-mem {
					regulator-off-in-suspend;
				};
			};
		};
	};
};

&i2c2 {
	status = "okay";
	pinctrl-names = "default";
	clock-frequency = <100000>;
	pinctrl-0 = <&i2c2m1_xfer>;

	rtc_pcf8563: pcf8563@51 {
		status = "disabled";
		compatible = "nxp,pcf8563";
		reg = <0x51>;
		#clock-cells = <0>;
	};

	// ov5647: ov5647@36 {
	// 	status = "okay";
	// 	compatible = "ovti,ov5647";
	// 	reg = <0x36>;

	// 	clocks = <&ext_cam_clk_ov5647>;
	// 	clock-names = "ext_cam_clk_ov5647";
	// 	pwdn-gpios = <&gpio4 RK_PA7 GPIO_ACTIVE_LOW>,
	// 				<&gpio4 RK_PA5 GPIO_ACTIVE_LOW>;

	// 	rockchip,camera-module-index = <0>;
	// 	rockchip,camera-module-facing = "back";
	// 	rockchip,camera-module-name = "rpi-camera-v1p3";
	// 	rockchip,camera-module-lens-name = "default";

	// 	port {
	// 		ov5647_out: endpoint {
	// 			remote-endpoint = <&mipi_in_ucam0>;
	// 			data-lanes = <1 2>;
	// 		};
	// 	};
	// };

	// imx219: imx219@10 {
	// 	status = "okay";
	// 	compatible = "sony,imx219";
	// 	reg = <0x10>;

	// 	VANA-supply = <&imx219_vana_2v8>;
	// 	VDIG-supply = <&imx219_vdig_1v8>;
	// 	VDDL-supply = <&imx219_vddl_1v2>;

	// 	clocks = <&ext_cam_clk_imx219>;
	// 	clock-names = "ext_cam_clk_imx219";
	// 	pwdn-gpios = <&gpio4 RK_PA7 GPIO_ACTIVE_LOW>,
	// 				<&gpio4 RK_PA5 GPIO_ACTIVE_LOW>;

	// 	rockchip,camera-module-index = <1>;
	// 	rockchip,camera-module-facing = "front";
	// 	rockchip,camera-module-name = "rpi-camera-v2";
	// 	rockchip,camera-module-lens-name = "default";

	// 	port {
	// 		imx219_out: endpoint {
	// 			remote-endpoint = <&mipi_in_ucam1>;
	// 			data-lanes = <1 2>;
	// 			clock-noncontinuous;
	// 			link-frequencies =
	// 				/bits/ 64 <456000000>;
	// 		};
	// 	};
	// };

	reg_display: regulator@45 {
		status = "okay";
		compatible = "raspberrypi,7inch-touchscreen-panel-regulator";
		reg = <0x45>;
	};

	tp_ft5406@38 {
		status = "okay";
		compatible = "edt,edt-ft5406";
		reg = <0x38>;

		vcc-supply = <&vcc3v3_sys>;
		iovcc-supply = <&vcc_3v3>;

		touchscreen-size-x = <800>;
		touchscreen-size-y = <480>;
		touchscreen-inverted-x;
		touchscreen-inverted-y;
	};
};

&i2c3 {
	status = "disabled";
	pinctrl-names = "default";
	pinctrl-0 = <&i2c3m0_xfer>;

	tp_ns2009: ns2009@48 {
		status = "disabled";
		compatible = "ti,tsc2007";
		reg = <0x48>;
		ti,x-plate-ohms = <660>;
		ti,y-plate-ohms = <660>;
		ti,fuzzx = <32>;
		ti,fuzzy = <16>;
	};
};

&spi1 {
	#address-cells = <1>;
	#size-cells = <0>;
	status = "disabled";
	pinctrl-names = "default";
	pinctrl-0 = <&spi1m1_pins>;
	cs-gpios = <&gpio4 RK_PC6 GPIO_ACTIVE_LOW>,
		<&gpio3 RK_PA1 GPIO_ACTIVE_LOW>;

	can: mcp2515@0 {
		status = "disabled";
		compatible = "microchip,mcp2515";
		reg = <0x0>;
		clocks = <&mcp2515_clock>;
		spi-max-frequency = <10000000>;
		pinctrl-names = "default";
		pinctrl-0 = <&can0_pin_irq>;
		interrupts = <RK_PA3 IRQ_TYPE_LEVEL_LOW>;
		interrupt-parent = <&gpio4>;
		vdd-supply = <&vcc3v3_sys>;
		xceiver-supply = <&vcc3v3_sys>;
	};

	tft_35: st7796@1 {
		status = "disabled";
		compatible = "sitronix,st7796s";
		dc-gpios  = <&gpio0 RK_PC7 GPIO_ACTIVE_HIGH>;
		reg = <1>;
		spi-max-frequency = <10000000>;
		fps = <60>;
		buswidth = <8>;
		rotate = <0>;
		width = <480>;
		height = <320>;
		bpp = <24>;
		bgr;
		regwidth = <8>;
		debug = <0x00>;
		txbuflen = <307200>;
		spi-cpol;
		spi-cpha;
	};
};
